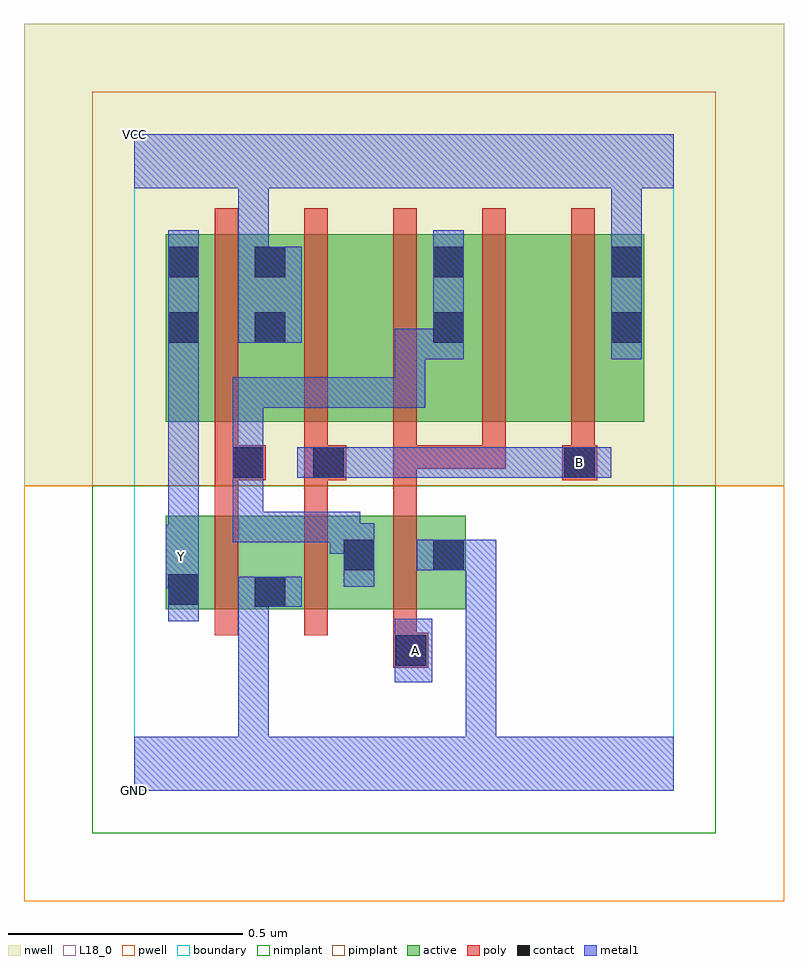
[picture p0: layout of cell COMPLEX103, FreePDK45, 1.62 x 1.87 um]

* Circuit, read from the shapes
.subckt COMPLEX103 A B GND VCC Y
M1 GND n1 Y VSUBS nfet w=0.2u l=0.05u
M2 n1 B GND VSUBS nfet w=0.2u l=0.05u
M3 GND A n1 VSUBS nfet w=0.2u l=0.05u
M4 VCC n1 Y n2 pfet w=0.4u l=0.05u
M5 n3 B VCC n2 pfet w=0.4u l=0.05u
M6 n1 A n3 n2 pfet w=0.4u l=0.05u
M7 n4 A n1 n2 pfet w=0.4u l=0.05u
M8 VCC B n4 n2 pfet w=0.4u l=0.05u
.ends

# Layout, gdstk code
import gdstk
lib = gdstk.Library(unit=1e-6, precision=1e-09)
def R(c, l, rs):  # rectangles x0, y0, x1, y1
    for r in rs: c.add(gdstk.rectangle(r[:2], r[2:], *l))
def A(c, l, x, y, w, h, nx, ny, dx, dy):  # array of equal rectangles
    R(c, l, [(x+i*dx, y+j*dy, x+i*dx+w, y+j*dy+h) for i in range(nx) for j in range(ny)])
active = (1, 0)
pwell = (2, 0)
nwell = (3, 0)
nimplant = (4, 0)
pimplant = (5, 0)
poly = (9, 0)
contact = (10, 0)
metal1 = (11, 0)
L18_0 = (18, 0)
boundary = (235, 0)

complex103 = lib.new_cell('COMPLEX103')
A(complex103, active, 0.252, 0.387, 0.075, 0.2, 3, 1, 0.19, 0)
R(complex103, active, [(0.067,0.387,0.142,0.587), (0.067,0.387,0.327,0.587), (0.252,0.387,0.517,0.587), (0.442,0.387,0.707,0.587), (0.067,0.787,0.327,1.187), (0.067,0.787,0.142,1.187), (0.252,0.787,0.482,1.187), (0.482,0.787,0.707,1.187), (0.632,0.787,0.862,1.187), (0.862,0.787,1.087,1.187), (1.012,0.787,1.087,1.165), (0.252,0.907,0.327,1.165), (0.632,0.907,0.707,1.165)])
R(complex103, pwell, [(-0.235,-0.235,1.385,0.65)])
R(complex103, nwell, [(-0.235,0.65,1.385,1.635)])
R(complex103, nimplant, [(-0.09,-0.09,1.24,0.65)])
R(complex103, pimplant, [(-0.09,0.65,1.24,1.49)])
A(complex103, poly, 0.172, 0.332, 0.05, 0.31, 3, 1, 0.19, 0)
A(complex103, poly, 0.172, 0.687, 0.05, 0.095, 5, 1, 0.19, 0)
A(complex103, poly, 0.172, 0.732, 0.05, 0.51, 5, 1, 0.19, 0)
R(complex103, poly, [(0.552,0.262,0.627,0.337), (0.552,0.287,0.602,0.382), (0.172,0.592,0.222,0.712), (0.362,0.592,0.412,0.712), (0.552,0.592,0.602,0.737), (0.172,0.662,0.28,0.737), (0.362,0.662,0.452,0.737), (0.912,0.662,0.987,0.737), (0.552,0.687,0.602,0.737), (0.552,0.687,0.792,0.737), (0.742,0.687,0.792,0.737), (0.742,0.687,0.792,0.737), (0.742,0.687,0.792,0.737)])
A(complex103, contact, 0.257, 0.955, 0.065, 0.065, 3, 2, 0.38, 0.14)
R(complex103, contact, [(0.557,0.267,0.622,0.332), (0.257,0.392,0.322,0.457), (0.072,0.397,0.137,0.462), (0.447,0.47,0.512,0.535), (0.637,0.47,0.702,0.535), (0.21,0.667,0.275,0.732), (0.382,0.667,0.447,0.732), (0.917,0.667,0.982,0.732), (0.072,0.955,0.137,1.02), (0.072,1.095,0.137,1.16)])
R(complex103, metal1, [(0,0,1.15,0.115), (0.222,0.05,0.287,0.115), (0.222,0.05,0.287,0.115), (0.222,0.05,0.287,0.115), (0.222,0.05,0.287,0.115), (0.222,0.05,0.287,0.115), (0.222,0.05,0.287,0.115), (0.222,0.05,0.287,0.457), (0.707,0.05,0.772,0.115), (0.707,0.05,0.772,0.115), (0.707,0.05,0.772,0.115), (0.707,0.05,0.772,0.115), (0.707,0.05,0.772,0.115), (0.707,0.05,0.772,0.115), (0.707,0.05,0.772,0.535), (0.555,0.232,0.635,0.367), (0.072,0.362,0.137,0.497), (0.222,0.392,0.357,0.457), (0.067,0.432,0.137,0.567), (0.072,0.432,0.137,0.497), (0.447,0.435,0.512,0.57), (0.602,0.47,0.772,0.535), (0.072,0.502,0.137,0.985), (0.417,0.505,0.512,0.57), (0.417,0.505,0.482,0.595), (0.21,0.53,0.275,0.595), (0.21,0.53,0.482,0.595), (0.21,0.53,0.275,0.767), (0.21,0.632,0.275,0.767), (0.347,0.667,0.482,0.732), (0.417,0.667,0.482,0.732), (0.417,0.667,0.482,0.732), (0.417,0.667,0.62,0.732), (0.555,0.667,0.62,0.732), (0.555,0.667,0.807,0.732), (0.742,0.667,0.807,0.732), (0.742,0.667,0.807,0.732), (0.742,0.667,0.807,0.732), (0.742,0.667,0.945,0.732), (0.88,0.667,0.945,0.732), (0.88,0.667,0.945,0.732), (0.88,0.667,1.017,0.732), (0.21,0.702,0.275,0.767), (0.21,0.702,0.275,0.767), (0.21,0.702,0.275,0.882), (0.21,0.817,0.275,0.882), (0.21,0.817,0.482,0.882), (0.417,0.817,0.482,0.882), (0.417,0.817,0.482,0.882), (0.417,0.817,0.482,0.882), (0.417,0.817,0.62,0.882), (0.555,0.817,0.62,0.985), (0.072,0.92,0.137,1.195), (0.555,0.92,0.702,0.985), (0.637,0.92,0.702,1.195), (1.017,0.92,1.082,1.195), (0.222,0.955,0.357,1.16), (0.222,1.095,0.287,1.16), (0.222,1.095,0.287,1.16), (0.222,1.095,0.287,1.35), (1.017,1.13,1.082,1.35), (0,1.285,1.15,1.4), (1.017,1.285,1.082,1.35), (1.017,1.285,1.082,1.35)])
R(complex103, L18_0, [(0,0,1.15,0.115), (0.222,0.05,0.287,0.115), (0.222,0.05,0.287,0.115), (0.222,0.05,0.287,0.115), (0.222,0.05,0.287,0.115), (0.222,0.05,0.287,0.115), (0.222,0.05,0.287,0.115), (0.222,0.05,0.287,0.457), (0.707,0.05,0.772,0.115), (0.707,0.05,0.772,0.115), (0.707,0.05,0.772,0.115), (0.707,0.05,0.772,0.115), (0.707,0.05,0.772,0.115), (0.707,0.05,0.772,0.115), (0.707,0.05,0.772,0.535), (0.555,0.232,0.635,0.367), (0.567,0.267,0.632,0.332), (0.072,0.362,0.137,0.497), (0.222,0.392,0.357,0.457), (0.067,0.432,0.137,0.567), (0.072,0.432,0.137,0.497), (0.067,0.467,0.132,0.532), (0.602,0.47,0.772,0.535), (0.072,0.502,0.137,0.985), (0.347,0.667,0.482,0.732), (0.417,0.667,0.482,0.732), (0.417,0.667,0.482,0.732), (0.417,0.667,0.62,0.732), (0.555,0.667,0.62,0.732), (0.555,0.667,0.807,0.732), (0.742,0.667,0.807,0.732), (0.742,0.667,0.807,0.732), (0.742,0.667,0.807,0.732), (0.742,0.667,0.945,0.732), (0.88,0.667,0.945,0.732), (0.88,0.667,0.945,0.732), (0.88,0.667,1.017,0.732), (0.917,0.667,0.982,0.732), (0.072,0.92,0.137,1.195), (1.017,0.92,1.082,1.195), (0.222,0.955,0.357,1.16), (0.222,1.095,0.287,1.16), (0.222,1.095,0.287,1.16), (0.222,1.095,0.287,1.35), (1.017,1.13,1.082,1.35), (0,1.285,1.15,1.4), (1.017,1.285,1.082,1.35), (1.017,1.285,1.082,1.35)])
R(complex103, boundary, [(0,0,1.15,1.4)])
complex103.add(gdstk.Label('A', (0.6,0.3), layer=11, texttype=0))
complex103.add(gdstk.Label('B', (0.95,0.7), layer=11, texttype=0))
complex103.add(gdstk.Label('Y', (0.1,0.5), layer=11, texttype=0))
complex103.add(gdstk.Label('VCC', (0,1.4), layer=11, texttype=0))
complex103.add(gdstk.Label('GND', (0,0), layer=11, texttype=0))

lib.write_gds('COMPLEX103.gds')
